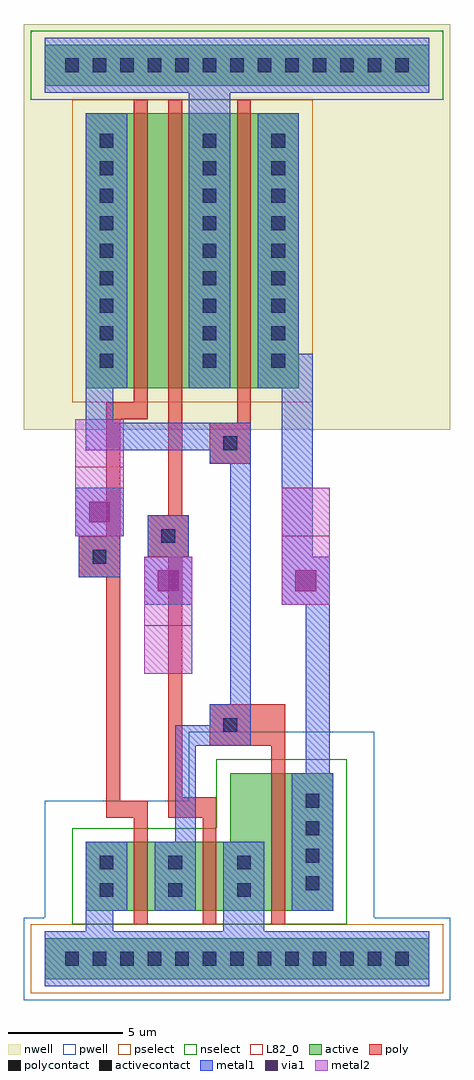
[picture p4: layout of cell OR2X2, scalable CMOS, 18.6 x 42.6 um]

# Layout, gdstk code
import gdstk
lib = gdstk.Library(unit=1e-6, precision=1e-09)
def R(c, l, rs):  # rectangles x0, y0, x1, y1
    for r in rs: c.add(gdstk.rectangle(r[:2], r[2:], *l))
def A(c, l, x, y, w, h, nx, ny, dx, dy):  # array of equal rectangles
    R(c, l, [(x+i*dx, y+j*dy, x+i*dx+w, y+j*dy+h) for i in range(nx) for j in range(ny)])
pwell = (41, 0)
nwell = (42, 0)
active = (43, 0)
pselect = (44, 0)
nselect = (45, 0)
poly = (46, 0)
polycontact = (47, 0)
activecontact = (48, 0)
metal1 = (49, 0)
via1 = (50, 0)
metal2 = (51, 0)
L82_0 = (82, 0)

or2x2 = lib.new_cell('OR2X2')
R(or2x2, pwell, [(-1.8,-1.8,16.8,1.8), (-0.9,1.8,13.5,6.9), (5.4,6.9,13.5,9.9)])
R(or2x2, nwell, [(-1.8,23.1,16.8,40.8)])
R(or2x2, active, [(-0.9,-0.9,15.9,0.9), (0.9,2.1,11.7,5.1), (7.2,5.1,11.7,8.1), (0.9,24.9,10.2,36.9), (-0.9,38.1,15.9,39.9)])
R(or2x2, pselect, [(-1.5,-1.5,16.5,1.5), (0.3,24.3,10.8,37.5)])
R(or2x2, nselect, [(0.3,1.5,12.3,5.7), (6.6,5.7,12.3,8.7), (-1.5,37.5,16.5,40.5)])
R(or2x2, poly, [(3,1.5,3.6,6.15), (6,1.5,6.6,6.15), (9,1.5,9.6,9.3), (1.8,6.15,3.6,6.9), (4.5,6.15,6.6,7.05), (1.8,6.9,2.4,16.65), (4.5,7.05,5.1,17.55), (6.3,9.3,9.6,11.1), (0.6,16.65,2.4,18.45), (3.6,17.55,5.4,19.35), (1.8,18.45,2.4,23.55), (4.5,19.35,5.1,37.5), (6.3,21.6,8.1,23.4), (7.5,23.4,8.1,37.5), (1.8,23.55,3.6,24.3), (3,24.3,3.6,37.5)])
R(or2x2, polycontact, [(6.9,9.9,7.5,10.5), (1.2,17.25,1.8,17.85), (4.2,18.15,4.8,18.75), (6.9,22.2,7.5,22.8)])
A(or2x2, activecontact, 0, -0.3, 0.6, 0.6, 13, 2, 1.2, 39)
A(or2x2, activecontact, 1.5, 2.7, 0.6, 0.6, 3, 2, 3, 1.2)
A(or2x2, activecontact, 10.5, 3, 0.6, 0.6, 1, 4, 0, 1.2)
A(or2x2, activecontact, 1.5, 25.8, 0.6, 0.6, 1, 9, 0, 1.2)
A(or2x2, activecontact, 6, 25.8, 0.6, 0.6, 1, 9, 0, 1.2)
A(or2x2, activecontact, 9, 25.8, 0.6, 0.6, 1, 9, 0, 1.2)
R(or2x2, metal1, [(-0.9,-1.2,15.9,1.2), (0.9,1.2,2.1,2.1), (6.9,1.2,8.7,5.1), (0.9,2.1,2.7,5.1), (3.9,2.1,5.7,5.1), (9.9,2.1,11.7,8.1), (4.8,5.1,5.7,9.3), (10.5,8.1,11.55,15.45), (4.8,9.3,8.1,10.2), (6.3,10.2,8.1,11.1), (7.2,11.1,8.1,21.6), (3.45,15.45,5.55,17.55), (9.45,15.45,11.55,17.55), (0.6,16.65,2.4,18.45), (3.6,17.55,5.4,19.35), (9.45,17.55,10.8,24.9), (0.45,18.45,2.55,20.55), (6.3,21.6,8.1,22.2), (0.9,22.2,8.1,23.4), (0.9,23.4,2.1,24.9), (0.9,24.9,2.7,36.9), (5.4,24.9,7.2,37.8), (8.4,24.9,10.8,26.4), (8.4,26.4,10.2,36.9), (-0.9,37.8,15.9,40.2)])
R(or2x2, via1, [(4.05,16.05,4.95,16.95), (10.05,16.05,10.95,16.95), (1.05,19.05,1.95,19.95)])
R(or2x2, metal2, [(3.45,12.45,5.55,17.55), (9.45,15.45,11.55,20.55), (0.45,18.45,2.55,23.55)])
R(or2x2, L82_0, [(3.45,12.45,5.55,14.55), (9.45,18.45,11.55,20.55), (0.45,21.45,2.55,23.55)])

lib.write_gds('OR2X2.gds')
